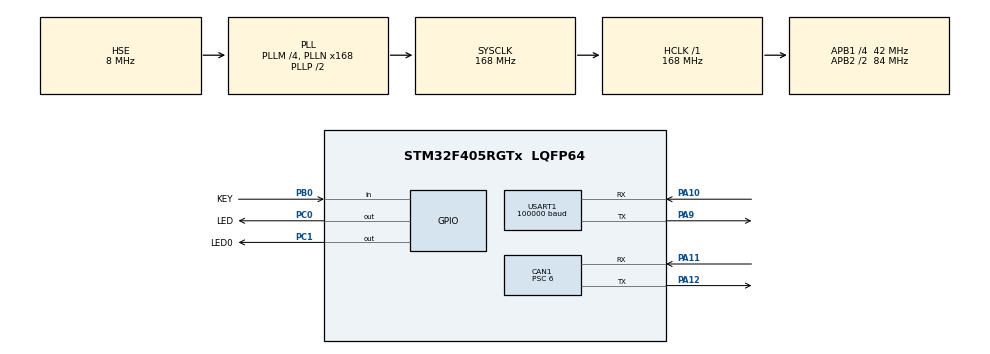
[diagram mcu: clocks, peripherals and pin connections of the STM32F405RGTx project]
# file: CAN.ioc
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CAN1.BS1=CAN_BS1_3TQ
CAN1.BS2=CAN_BS2_4TQ
CAN1.CalculateBaudRate=875000
CAN1.CalculateTimeBit=1142.85
CAN1.CalculateTimeQuantum=142.85714285714286
CAN1.Mode=CAN_MODE_NORMAL
CAN1.NART=ENABLE
CAN1.Prescaler=6
CAN1.SJW=CAN_SJW_1TQ
Dma.Request0=USART1_RX
Dma.USART1_RX.0.Direction=DMA_PERIPH_TO_MEMORY
Dma.USART1_RX.0.FIFOMode=DMA_FIFOMODE_DISABLE
Dma.USART1_RX.0.Instance=DMA2_Stream2
Dma.USART1_RX.0.MemDataAlignment=DMA_MDATAALIGN_BYTE
Dma.USART1_RX.0.MemInc=DMA_MINC_ENABLE
Dma.USART1_RX.0.Mode=DMA_NORMAL
Dma.USART1_RX.0.PeriphDataAlignment=DMA_PDATAALIGN_BYTE
Dma.USART1_RX.0.PeriphInc=DMA_PINC_DISABLE
Dma.USART1_RX.0.Priority=DMA_PRIORITY_VERY_HIGH
Mcu.Family=STM32F4
Mcu.Name=STM32F405RGTx
Mcu.Package=LQFP64
NVIC.CAN1_RX0_IRQn=true\:1\:0\:true\:false\:true\:true\:true
NVIC.DMA2_Stream2_IRQn=true\:0\:0\:false\:false\:true\:false\:true
NVIC.PriorityGroup=NVIC_PRIORITYGROUP_4
NVIC.TIM2_IRQn=true\:0\:0\:false\:false\:true\:true\:true
NVIC.USART1_IRQn=true\:0\:0\:false\:false\:true\:true\:true
PA10.Mode=Asynchronous
PA10.Signal=USART1_RX
PA11.Mode=CAN_Activate
PA11.Signal=CAN1_RX
PA12.Mode=CAN_Activate
PA12.Signal=CAN1_TX
PA9.Mode=Asynchronous
PA9.Signal=USART1_TX
PB0.GPIO_Label=KEY
PB0.GPIO_PuPd=GPIO_PULLUP
PB0.Signal=GPIO_Input
PC0.GPIO_Label=LED
PC0.GPIO_PuPd=GPIO_PULLDOWN
PC0.GPIO_Speed=GPIO_SPEED_FREQ_HIGH
PC0.PinState=GPIO_PIN_RESET
PC0.Signal=GPIO_Output
PC1.GPIO_Label=LED0
PC1.GPIO_PuPd=GPIO_PULLDOWN
PC1.GPIO_Speed=GPIO_SPEED_FREQ_HIGH
PC1.Signal=GPIO_Output
PH0-OSC_IN.Mode=HSE-External-Oscillator
PH0-OSC_IN.Signal=RCC_OSC_IN
PH1-OSC_OUT.Mode=HSE-External-Oscillator
PH1-OSC_OUT.Signal=RCC_OSC_OUT
ProjectManager.HeapSize=0x200
ProjectManager.StackSize=0x400
ProjectManager.TargetToolchain=MDK-ARM V5.27
RCC.48MHZClocksFreq_Value=84000000
RCC.AHBFreq_Value=168000000
RCC.APB1CLKDivider=RCC_HCLK_DIV4
RCC.APB1Freq_Value=42000000
RCC.APB1TimFreq_Value=84000000
RCC.APB2CLKDivider=RCC_HCLK_DIV2
RCC.APB2Freq_Value=84000000
RCC.APB2TimFreq_Value=168000000
RCC.CortexFreq_Value=168000000
RCC.HCLKFreq_Value=168000000
RCC.HSE_VALUE=8000000
RCC.HSI_VALUE=16000000
RCC.LSE_VALUE=32768
RCC.PLLM=4
RCC.PLLN=168
RCC.PLLSourceVirtual=RCC_PLLSOURCE_HSE
RCC.SYSCLKFreq_VALUE=168000000
RCC.SYSCLKSource=RCC_SYSCLKSOURCE_PLLCLK
RCC.VCOOutputFreq_Value=336000000
TIM2.AutoReloadPreload=TIM_AUTORELOAD_PRELOAD_ENABLE
TIM2.Period=1000-1
TIM2.Prescaler=84-1
USART1.BaudRate=100000
USART1.Mode=MODE_RX
USART1.Parity=PARITY_EVEN
USART1.VirtualMode=VM_ASYNC
VP_IWDG_VS_IWDG.Mode=IWDG_Activate
VP_TIM2_VS_ClockSourceINT.Mode=Internal
board=custom

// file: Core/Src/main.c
/* USER CODE BEGIN Header */
/**
  ******************************************************************************
  * @file           : main.c
  * @brief          : Main program body
  ******************************************************************************
  * @attention
  *
  * <h2><center>&copy; Copyright (c) 2020 STMicroelectronics.
  * All rights reserved.</center></h2>
  *
  * This software component is licensed by ST under BSD 3-Clause license,
  * the "License"; You may not use this file except in compliance with the
  * License. You may obtain a copy of the License at:
  *                        opensource.org/licenses/BSD-3-Clause
  *
  ******************************************************************************
  */
/* USER CODE END Header */
#include "main.h"
#include "can.h"
#include "dma.h"
#include "tim.h"
#include "usart.h"
#include "gpio.h"

/* USER CODE BEGIN Includes */
#include "robo_base.h"
#include "Remote.h"
/* USER CODE END Includes */

/* USER CODE BEGIN PV */
CAN_TxHeaderTypeDef TxMessage;
CAN_RxHeaderTypeDef RxMessage;
uint8_t RxData[8];
uint8_t TxData[8];
uint8_t BUF[8]={1,2,3,4,5,6,7,8};
uint32_t Txmailbox;

PID pid1;
Speed_System speed;
Pos_System pos;
RC_Ctl_t RC_Data;
/* USER CODE END PV */

void SystemClock_Config(void);

int main(void)
{

  /* MCU Configuration--------------------------------------------------------*/

  /* Reset of all peripherals, Initializes the Flash interface and the Systick. */
  HAL_Init();

  /* USER CODE BEGIN Init */
	Usart_Init();
  /* USER CODE END Init */

  /* Configure the system clock */
  SystemClock_Config();

  /* Initialize all configured peripherals */
  MX_GPIO_Init();
  MX_DMA_Init();
  MX_CAN1_Init();
  MX_TIM2_Init();
  MX_USART1_UART_Init();
  /* USER CODE BEGIN 2 */
	__HAL_UART_ENABLE_IT(&huart1,UART_IT_IDLE);
	HAL_TIM_Base_Start_IT(&htim2);
	CAN_FilterConfig();
	PID_Init(&speed.Speed_PID,5,0,0,5000,0,5000,5000);
//	PID_Init(&pos.Pos_PID,5,0,0,5000,0,5000,5000);
  /* USER CODE END 2 */

  /* Infinite loop */
  while (1)
  {

  }
}

void SystemClock_Config(void)
{
  RCC_OscInitTypeDef RCC_OscInitStruct = {0};
  RCC_ClkInitTypeDef RCC_ClkInitStruct = {0};

  /** Configure the main internal regulator output voltage
  */
  __HAL_RCC_PWR_CLK_ENABLE();
  __HAL_PWR_VOLTAGESCALING_CONFIG(PWR_REGULATOR_VOLTAGE_SCALE1);
  /** Initializes the RCC Oscillators according to the specified parameters
  * in the RCC_OscInitTypeDef structure.
  */
  RCC_OscInitStruct.OscillatorType = RCC_OSCILLATORTYPE_HSE;
  RCC_OscInitStruct.HSEState = RCC_HSE_ON;
  RCC_OscInitStruct.PLL.PLLState = RCC_PLL_ON;
  RCC_OscInitStruct.PLL.PLLSource = RCC_PLLSOURCE_HSE;
  RCC_OscInitStruct.PLL.PLLM = 4;
  RCC_OscInitStruct.PLL.PLLN = 168;
  RCC_OscInitStruct.PLL.PLLP = RCC_PLLP_DIV2;
  RCC_OscInitStruct.PLL.PLLQ = 4;
  if (HAL_RCC_OscConfig(&RCC_OscInitStruct) != HAL_OK)
  {
    Error_Handler();
  }
  /** Initializes the CPU, AHB and APB buses clocks
  */
  RCC_ClkInitStruct.ClockType = RCC_CLOCKTYPE_HCLK|RCC_CLOCKTYPE_SYSCLK
                              |RCC_CLOCKTYPE_PCLK1|RCC_CLOCKTYPE_PCLK2;
  RCC_ClkInitStruct.SYSCLKSource = RCC_SYSCLKSOURCE_PLLCLK;
  RCC_ClkInitStruct.AHBCLKDivider = RCC_SYSCLK_DIV1;
  RCC_ClkInitStruct.APB1CLKDivider = RCC_HCLK_DIV4;
  RCC_ClkInitStruct.APB2CLKDivider = RCC_HCLK_DIV2;

  if (HAL_RCC_ClockConfig(&RCC_ClkInitStruct, FLASH_LATENCY_5) != HAL_OK)
  {
    Error_Handler();
  }
}

void Error_Handler(void)
{
  __disable_irq();
  while (1)
  {
  }
}

/************************ (C) COPYRIGHT STMicroelectronics *****END OF FILE****/
